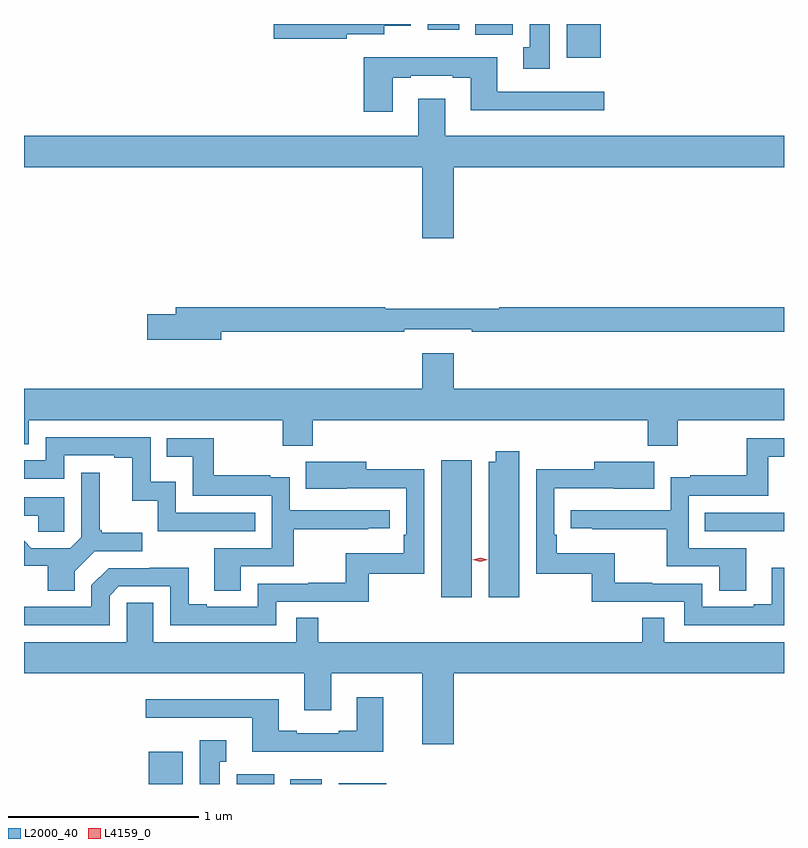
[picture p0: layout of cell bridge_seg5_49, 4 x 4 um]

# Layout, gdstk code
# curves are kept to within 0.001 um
import gdstk
lib = gdstk.Library(unit=1e-6, precision=1e-09)
def R(c, l, rs):  # rectangles x0, y0, x1, y1
    for r in rs: c.add(gdstk.rectangle(r[:2], r[2:], *l))
def P(c, l, *ps):  # polygons
    for p in ps: c.add(gdstk.Polygon(p, *l))
L2000_40 = (2000, 40)
L4159_0 = (4159, 0)

bridge_seg5_49 = lib.new_cell('bridge_seg5_49')
R(bridge_seg5_49, L2000_40, [(846.884,889.477,847.063,889.648), (847.346,889.477,847.543,889.528), (847.628,889.477,847.795,889.501), (847.883,889.477,848.134,889.48), (848.423,890.46,848.584,891.181), (849.811,890.808,850.227,890.904), (849.083,893.3,849.262,893.477), (848.603,893.42,848.8,893.477), (848.351,893.448,848.518,893.477)])
P(bridge_seg5_49, L2000_40, [(847.926,893.423),(848.122,893.423),(848.122,893.468),(848.263,893.468),(848.263,893.477),(847.542,893.477),(847.542,893.399),(847.926,893.399)],
  [(848.995,893.477),(848.888,893.477),(848.888,893.354),(848.855,893.354),(848.855,893.241),(848.995,893.241)],
  [(848.167,893.193),(848.263,893.193),(848.263,893.205),(848.483,893.205),(848.483,893.193),(848.579,893.193),(848.579,893.024),(849.28,893.024),(849.28,893.121),(848.719,893.121),(848.719,893.302),(848.015,893.302),(848.015,893.016),(848.167,893.016)],
  [(848.488,892.724),(850.227,892.724),(850.227,892.888),(848.443,892.888),(848.443,893.083),(848.303,893.083),(848.303,892.888),(846.227,892.888),(846.227,892.724),(848.324,892.724),(848.324,892.35),(848.488,892.35)],
  [(847.264,891.858),(848.228,891.858),(848.228,891.87),(848.584,891.87),(848.584,891.858),(850.227,891.858),(850.227,891.986),(848.729,891.986),(848.729,891.979),(848.129,891.979),(848.129,891.986),(847.025,891.986),(847.025,891.95),(846.876,891.95),(846.876,891.815),(847.264,891.815)],
  [(847.748,891.392),(849.509,891.392),(849.509,891.257),(849.669,891.257),(849.669,891.392),(850.227,891.392),(850.227,891.556),(848.488,891.556),(848.488,891.745),(848.324,891.745),(848.324,891.556),(846.227,891.556),(846.227,891.265),(846.252,891.265),(846.252,891.392),(847.588,891.392),(847.588,891.257),(847.748,891.257)],
  [(847.445,890.904),(847.026,890.904),(847.026,891.067),(846.894,891.067),(846.894,891.303),(846.342,891.303),(846.342,891.18),(846.227,891.18),(846.227,891.084),(846.438,891.084),(846.438,891.207),(846.701,891.207),(846.701,891.195),(846.797,891.195),(846.797,890.969),(846.93,890.969),(846.93,890.808),(847.445,890.808)],
  [(847.369,890.622),(847.646,890.622),(847.646,890.818),(848.039,890.818),(848.039,890.823),(848.152,890.823),(848.152,890.919),(847.626,890.919),(847.626,891.091),(847.523,891.091),(847.523,891.103),(847.225,891.103),(847.225,891.297),(846.979,891.297),(846.979,891.2),(847.114,891.2),(847.114,890.994),(847.53,890.994),(847.53,890.718),(847.229,890.718),(847.229,890.494),(847.369,890.494)],
  [(850.027,890.718),(849.726,890.718),(849.726,890.994),(850.143,890.994),(850.143,891.2),(850.227,891.2),(850.227,891.297),(850.032,891.297),(850.032,891.103),(849.733,891.103),(849.733,891.091),(849.63,891.091),(849.63,890.919),(849.105,890.919),(849.105,890.823),(849.217,890.823),(849.217,890.818),(849.61,890.818),(849.61,890.622),(849.887,890.622),(849.887,890.494),(850.027,890.494)],
  [(848.833,891.229),(848.711,891.229),(848.711,891.172),(848.672,891.172),(848.672,890.46),(848.833,890.46)],
  [(846.678,890.469),(846.726,890.517),(846.996,890.517),(846.996,890.313),(847.554,890.313),(847.554,890.436),(848.041,890.436),(848.041,890.583),(848.334,890.583),(848.334,891.134),(848.029,891.134),(848.029,891.172),(847.711,891.172),(847.711,891.032),(848.238,891.033),(848.238,890.788),(848.225,890.788),(848.225,890.692),(847.92,890.692),(847.92,890.537),(847.723,890.537),(847.723,890.532),(847.458,890.532),(847.458,890.409),(847.189,890.409),(847.189,890.422),(847.093,890.422),(847.093,890.615),(846.888,890.615),(846.888,890.613),(846.672,890.613),(846.582,890.523),(846.582,890.409),(846.227,890.409),(846.227,890.313),(846.678,890.313)],
  [(850.227,890.615),(850.163,890.615),(850.163,890.422),(850.067,890.422),(850.067,890.409),(849.798,890.409),(849.798,890.532),(849.533,890.532),(849.533,890.537),(849.337,890.537),(849.337,890.692),(849.032,890.692),(849.032,890.788),(849.018,890.788),(849.018,891.033),(849.331,891.033),(849.331,891.032),(849.545,891.032),(849.545,891.172),(849.227,891.172),(849.227,891.134),(848.922,891.134),(848.922,890.583),(849.216,890.583),(849.216,890.436),(849.702,890.436),(849.702,890.313),(850.227,890.313)],
  [(846.493,890.596),(846.6,890.703),(846.85,890.703),(846.85,890.8),(846.637,890.8),(846.637,890.812),(846.625,890.812),(846.625,891.115),(846.528,891.115),(846.528,890.775),(846.471,890.718),(846.265,890.718),(846.227,890.756),(846.227,890.626),(846.353,890.626),(846.353,890.494),(846.493,890.494)],
  [(846.438,890.985),(846.227,890.985),(846.227,890.889),(846.301,890.889),(846.301,890.805),(846.438,890.805)],
  [(847.703,889.866),(847.843,889.866),(847.843,890.06),(848.324,890.06),(848.324,889.686),(848.488,889.686),(848.488,890.06),(850.227,890.06),(850.227,890.224),(849.597,890.224),(849.597,890.351),(849.481,890.351),(849.481,890.224),(847.775,890.224),(847.775,890.351),(847.659,890.351),(847.659,890.224),(846.907,890.224),(846.907,890.432),(846.768,890.432),(846.768,890.224),(846.227,890.224),(846.227,890.06),(847.703,890.06)],
  [(848.119,889.933),(847.979,889.933),(847.979,889.756),(847.883,889.756),(847.883,889.743),(847.663,889.743),(847.663,889.756),(847.567,889.756),(847.567,889.924),(846.867,889.924),(846.867,889.827),(847.427,889.827),(847.427,889.646),(848.119,889.646)],
  [(847.258,889.595),(847.291,889.595),(847.291,889.708),(847.151,889.708),(847.151,889.477),(847.258,889.477)])
P(bridge_seg5_49, L4159_0, [(848.628,890.648),(848.588,890.657),(848.588,890.658),(848.588,890.658),(848.628,890.668),(848.668,890.658),(848.668,890.658),(848.668,890.658)])

lib.write_gds('bridge_seg5_49.gds')
